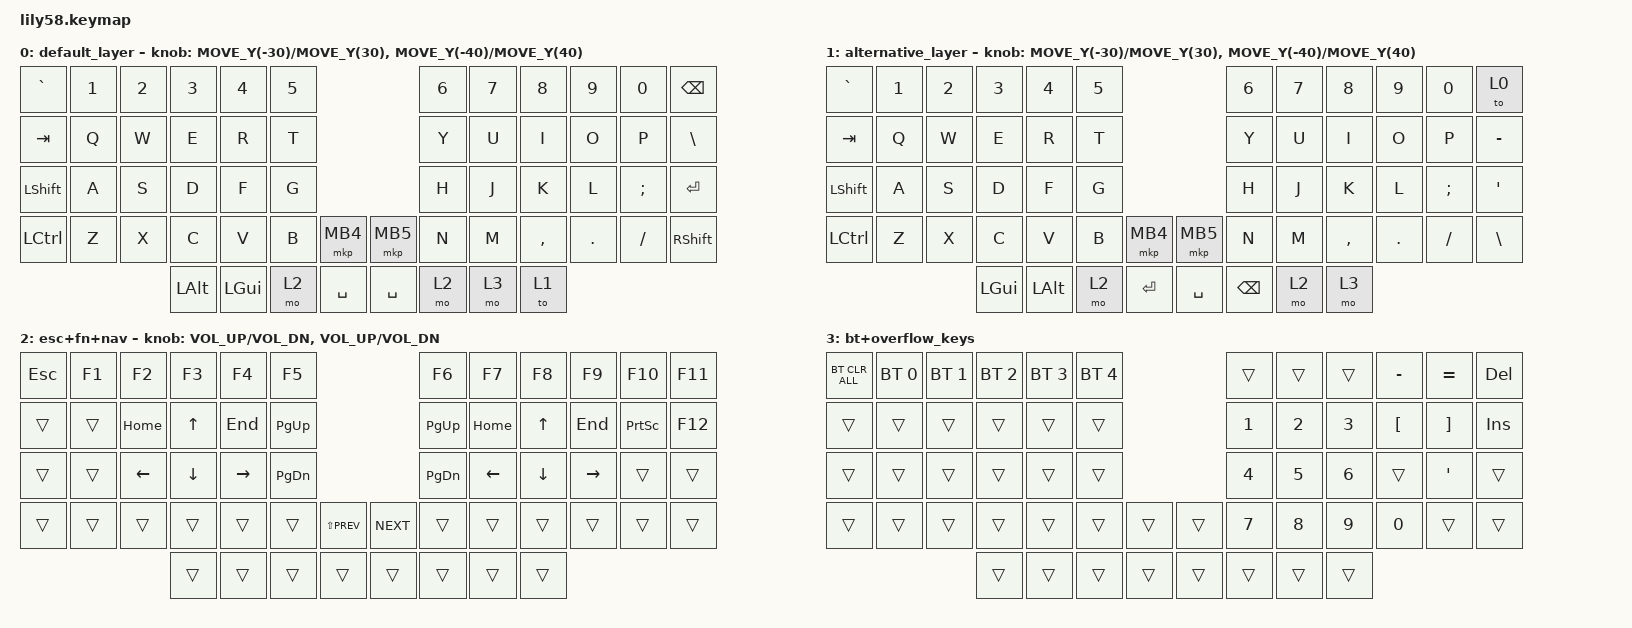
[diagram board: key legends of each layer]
/*
 * Copyright (c) 2020 The ZMK Contributors
 *
 * SPDX-License-Identifier: MIT
 */

#include <behaviors.dtsi>
#include <dt-bindings/zmk/bt.h>
#include <dt-bindings/zmk/keys.h>
#include <dt-bindings/zmk/pointing.h>

&msc {
    delay-ms = <0>;
    time-to-max-speed-ms = <0>;
    acceleration-exponent = <0>;
};

/ {
    behaviors {
        enc_scroll: enc_scroll {
            compatible = "zmk,behavior-sensor-rotate-var";
            #sensor-binding-cells = <2>;
            bindings = <&msc>, <&msc>;
            tap-ms = <60>;
        };
    };

    keymap {
        compatible = "zmk,keymap";

        default_layer {
            bindings = <
&kp GRAVE       &kp N1  &kp N2  &kp N3        &kp N4        &kp N5                          &kp N6  &kp N7  &kp N8     &kp N9   &kp N0    &kp BACKSPACE
&kp TAB         &kp Q   &kp W   &kp E         &kp R         &kp T                           &kp Y   &kp U   &kp I      &kp O    &kp P     &kp BACKSLASH
&kp LEFT_SHIFT  &kp A   &kp S   &kp D         &kp F         &kp G                           &kp H   &kp J   &kp K      &kp L    &kp SEMI  &kp ENTER
&kp LCTRL       &kp Z   &kp X   &kp C         &kp V         &kp B   &mkp MB4     &mkp MB5   &kp N   &kp M   &kp COMMA  &kp DOT  &kp FSLH  &kp RIGHT_SHIFT
                                &kp LEFT_ALT  &kp LEFT_GUI  &mo 2   &kp SPACE    &kp SPACE  &mo 2   &mo 3   &to 1
            >;

            sensor-bindings =
                <&enc_scroll MOVE_Y(-30) MOVE_Y(30)>,
                <&enc_scroll MOVE_Y(-40) MOVE_Y(40)>;
        };

        alternative_layer {
            bindings = <
&kp GRAVE       &kp N1  &kp N2  &kp N3        &kp N4        &kp N5                          &kp N6         &kp N7  &kp N8     &kp N9   &kp N0    &to 0
&kp TAB         &kp Q   &kp W   &kp E         &kp R         &kp T                           &kp Y          &kp U   &kp I      &kp O    &kp P     &kp MINUS
&kp LEFT_SHIFT  &kp A   &kp S   &kp D         &kp F         &kp G                           &kp H          &kp J   &kp K      &kp L    &kp SEMI  &kp SQT
&kp LCTRL       &kp Z   &kp X   &kp C         &kp V         &kp B   &mkp MB4     &mkp MB5   &kp N          &kp M   &kp COMMA  &kp DOT  &kp FSLH  &kp BACKSLASH
                                &kp LEFT_GUI  &kp LEFT_ALT  &mo 2   &kp ENTER    &kp SPACE  &kp BACKSPACE  &mo 2   &mo 3
            >;

            sensor-bindings =
                <&enc_scroll MOVE_Y(-30) MOVE_Y(30)>,
                <&enc_scroll MOVE_Y(-40) MOVE_Y(40)>;
        };

        esc+fn+nav {
            bindings = <
&kp ESCAPE  &kp F1  &kp F2    &kp F3          &kp F4     &kp F5                                       &kp F6         &kp F7    &kp F8    &kp F9     &kp F10          &kp F11
&trans      &trans  &kp HOME  &kp UP_ARROW    &kp END    &kp PAGE_UP                                  &kp PAGE_UP    &kp HOME  &kp UP    &kp END    &kp PRINTSCREEN  &kp F12
&trans      &trans  &kp LEFT  &kp DOWN_ARROW  &kp RIGHT  &kp PAGE_DOWN                                &kp PAGE_DOWN  &kp LEFT  &kp DOWN  &kp RIGHT  &trans           &trans
&trans      &trans  &trans    &trans          &trans     &trans         &kp LS(K_PREV)    &kp K_NEXT  &trans         &trans    &trans    &trans     &trans           &trans
                              &trans          &trans     &trans         &trans            &trans      &trans         &trans    &trans
            >;

            sensor-bindings =
                <&inc_dec_kp C_VOL_UP C_VOL_DN>,
                <&inc_dec_kp C_VOL_UP C_VOL_DN>;
        };

        bt+overflow_keys {
            bindings = <
&bt BT_CLR_ALL  &bt BT_SEL 0  &bt BT_SEL 1  &bt BT_SEL 2  &bt BT_SEL 3  &bt BT_SEL 4                    &trans  &trans  &trans  &kp MINUS         &kp EQUAL          &kp DELETE
&trans          &trans        &trans        &trans        &trans        &trans                          &kp N1  &kp N2  &kp N3  &kp LEFT_BRACKET  &kp RIGHT_BRACKET  &kp INSERT
&trans          &trans        &trans        &trans        &trans        &trans                          &kp N4  &kp N5  &kp N6  &trans            &kp APOS           &trans
&trans          &trans        &trans        &trans        &trans        &trans        &trans    &trans  &kp N7  &kp N8  &kp N9  &kp N0            &trans             &trans
                                            &trans        &trans        &trans        &trans    &trans  &trans  &trans  &trans
            >;
        };
    };
};
